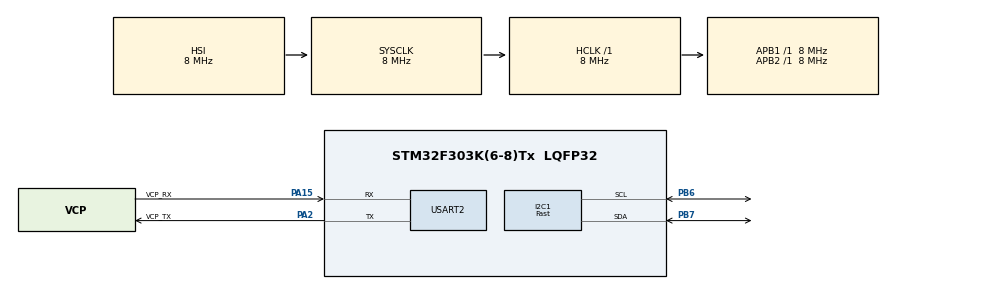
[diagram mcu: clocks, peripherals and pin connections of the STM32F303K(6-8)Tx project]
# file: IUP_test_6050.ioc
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I2C1.I2C_Speed_Mode=I2C_Fast
I2C1.Timing=0x0000020B
Mcu.Family=STM32F3
Mcu.Name=STM32F303K(6-8)Tx
Mcu.Package=LQFP32
NVIC.PriorityGroup=NVIC_PRIORITYGROUP_4
PA13.GPIO_Label=SWDIO
PA13.Mode=Serial_Wire
PA13.Signal=SYS_JTMS-SWDIO
PA14.GPIO_Label=SWCLK
PA14.Mode=Serial_Wire
PA14.Signal=SYS_JTCK-SWCLK
PA15.GPIO_Label=VCP_RX
PA15.Mode=Asynchronous
PA15.Signal=USART2_RX
PA2.GPIO_Label=VCP_TX
PA2.Mode=Asynchronous
PA2.Signal=USART2_TX
PB6.Mode=I2C
PB6.Signal=I2C1_SCL
PB7.Mode=I2C
PB7.Signal=I2C1_SDA
PF0\ /\ OSC_IN.GPIO_Label=MCO
PF0\ /\ OSC_IN.Mode=HSE-External-Clock-Source
PF0\ /\ OSC_IN.Signal=RCC_OSC_IN
ProjectManager.HeapSize=0x200
ProjectManager.StackSize=0x400
ProjectManager.TargetToolchain=STM32CubeIDE
RCC.AHBFreq_Value=8000000
RCC.APB1Freq_Value=8000000
RCC.APB2Freq_Value=8000000
RCC.CortexFreq_Value=8000000
RCC.HSE_VALUE=8000000
RCC.HSI_VALUE=8000000
RCC.SYSCLKFreq_VALUE=8000000
USART2.VirtualMode-Asynchronous=VM_ASYNC
board=NUCLEO-F303K8

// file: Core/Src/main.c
/* AHRS by Krzysztof Ragan
 *
 * Reading acceleration, angular velocity and magnetic heading from MPU9255 device
 * */

/**
  ******************************************************************************
  * @file           : main.c
  * @brief          : Main program body
  ******************************************************************************
  * @attention
  *
  * <h2><center>&copy; Copyright (c) 2021 STMicroelectronics.
  * All rights reserved.</center></h2>
  *
  * This software component is licensed by ST under BSD 3-Clause license,
  * the "License"; You may not use this file except in compliance with the
  * License. You may obtain a copy of the License at:
  *                        opensource.org/licenses/BSD-3-Clause
  *
  ******************************************************************************
  */
/* USER CODE END Header */
#include "main.h"
#include "i2c.h"
#include "usart.h"
#include "gpio.h"
#include "math.h"
#include "sd_hal_mpu9250.h"

I2C_HandleTypeDef hi2c1;

UART_HandleTypeDef huart2;

void SystemClock_Config(void);

/* USER CODE BEGIN 0 */

/* Sensor Handler */
/* USER CODE END 0 */

int main(void)
{

  /* MCU Configuration--------------------------------------------------------*/

  /* Reset of all peripherals, Initializes the Flash interface and the Systick. */
   HAL_Init();

  /* Configure the system clock */
  SystemClock_Config();

  /* Initialize all configured peripherals */
  MX_GPIO_Init();
  MX_USART2_UART_Init();
  MX_I2C1_Init();
  /* USER CODE BEGIN 2 */

  SD_MPU9250_Result result;
    uint8_t pData[200];
    SD_MPU9250 mpuStruct;
    result = SD_MPU9250_Init(&hi2c1, &mpuStruct, 0, SD_MPU9250_Accelerometer_16G, SD_MPU9250_Gyroscope_2000s);

float Ax,Ay,Az,Gx,Gy,Gz,Mx,My,Mz,psi;
float max_x=0,max_y=0,max_z=0,min_x=0,min_y=0,min_z=0,mean_mx=0,mean_my=0,mean_mz=0;

					/* USER CODE END 2 */

  /* Infinite loop */
  /* USER CODE BEGIN WHILE */
  while (1)
  {
Ax=mpuStruct.Accelerometer_X*mpuStruct.Acce_Mult;
Ay=mpuStruct.Accelerometer_Y*mpuStruct.Acce_Mult;
Az=mpuStruct.Accelerometer_Z*mpuStruct.Acce_Mult;
Gx=mpuStruct.Gyroscope_X*mpuStruct.Gyro_Mult;
Gy=mpuStruct.Gyroscope_Y*mpuStruct.Gyro_Mult;
Gz=mpuStruct.Gyroscope_Z*mpuStruct.Gyro_Mult;
Mx=mpuStruct.Mag_X/0.6;
My=mpuStruct.Mag_Y/0.6;
Mz=mpuStruct.Mag_Z/0.6;
// Calibrating magnetometer
if (Mx>max_x)
{
max_x=Mx;
}
if (My>max_y)
{
max_y=My;
}
if (Mz>max_z)
{
max_z=Mz;
}
if (Mx<min_x)
{
min_x=Mx;
}
if (My<min_y)
{
min_y=My;
}
if (Mz<min_z)
{
min_z=Mz;
}
mean_mx=(max_x+min_x)/2;
mean_my=(max_y+min_y)/2;
mean_mz=(max_z+min_z)/2;
Mx=Mx-mean_mx;
My=My-mean_my;
Mz=Mz-mean_mz;
//end of calibration
result = SD_MPU9250_ReadAll(&hi2c1, &mpuStruct);
printf("%f;%f;%f;%f;%f;%f;%f;%f;%f\n",Ax,Ay,Az,Gx,Gy,Gz,Mx,My,Mz);
//printf("%f;%f;%f;%f;%f;%f;%f;%f;%f\r\n",Ax,Ay,Az,Gx,Gy,Gz,Mx,My,Mz);

//printf("%f",Ax);
					HAL_Delay(100);
    /* USER CODE END WHILE */

  }
}

void SystemClock_Config(void)
{
  RCC_OscInitTypeDef RCC_OscInitStruct = {0};
  RCC_ClkInitTypeDef RCC_ClkInitStruct = {0};
  RCC_PeriphCLKInitTypeDef PeriphClkInit = {0};

  /** Initializes the RCC Oscillators according to the specified parameters
  * in the RCC_OscInitTypeDef structure.
  */
  RCC_OscInitStruct.OscillatorType = RCC_OSCILLATORTYPE_HSI;
  RCC_OscInitStruct.HSIState = RCC_HSI_ON;
  RCC_OscInitStruct.HSICalibrationValue = RCC_HSICALIBRATION_DEFAULT;
  RCC_OscInitStruct.PLL.PLLState = RCC_PLL_NONE;
  if (HAL_RCC_OscConfig(&RCC_OscInitStruct) != HAL_OK)
  {
    Error_Handler();
  }
  /** Initializes the CPU, AHB and APB buses clocks
  */
  RCC_ClkInitStruct.ClockType = RCC_CLOCKTYPE_HCLK|RCC_CLOCKTYPE_SYSCLK
                              |RCC_CLOCKTYPE_PCLK1|RCC_CLOCKTYPE_PCLK2;
  RCC_ClkInitStruct.SYSCLKSource = RCC_SYSCLKSOURCE_HSI;
  RCC_ClkInitStruct.AHBCLKDivider = RCC_SYSCLK_DIV1;
  RCC_ClkInitStruct.APB1CLKDivider = RCC_HCLK_DIV1;
  RCC_ClkInitStruct.APB2CLKDivider = RCC_HCLK_DIV1;

  if (HAL_RCC_ClockConfig(&RCC_ClkInitStruct, FLASH_LATENCY_0) != HAL_OK)
  {
    Error_Handler();
  }
  PeriphClkInit.PeriphClockSelection = RCC_PERIPHCLK_I2C1;
  PeriphClkInit.I2c1ClockSelection = RCC_I2C1CLKSOURCE_HSI;
  if (HAL_RCCEx_PeriphCLKConfig(&PeriphClkInit) != HAL_OK)
  {
    Error_Handler();
  }
}

void Error_Handler(void)
{
}

/************************ (C) COPYRIGHT STMicroelectronics *****END OF FILE****/
